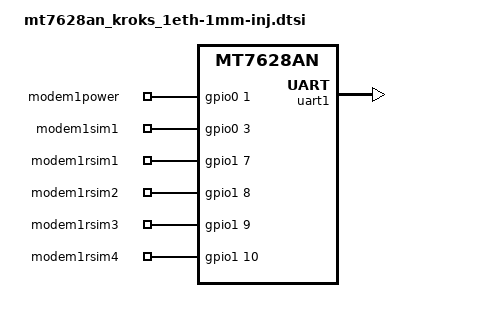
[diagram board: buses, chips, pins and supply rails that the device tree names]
/dts-v1/;

#include "mt7628an_kroks_1eth.dtsi"

/ {
	aliases {
		serial1 = &uart1;
	};

	gpio_export {
		compatible = "gpio-export";
		#size-cells = <0>;

		modem1power {
			gpio-export,name = "modem1power";
			gpio-export,output = <1>;
			gpios = <&gpio0 1 GPIO_ACTIVE_HIGH>;
		};

		modem1sim1 {
			gpio-export,name = "modem1sim1";
			gpio-export,output = <0>;
			gpios = <&gpio0 3 GPIO_ACTIVE_HIGH>;
		};

		modem1rsim1 {
			gpio-export,name = "modem1rsim1";
			gpio-export,output = <1>;
			gpios = <&gpio1 7 GPIO_ACTIVE_HIGH>;
		};

		modem1rsim2 {
			gpio-export,name = "modem1rsim2";
			gpio-export,output = <0>;
			gpios = <&gpio1 8 GPIO_ACTIVE_HIGH>;
		};

		modem1rsim3 {
			gpio-export,name = "modem1rsim3";
			gpio-export,output = <0>;
			gpios = <&gpio1 9 GPIO_ACTIVE_HIGH>;
		};

		modem1rsim4 {
			gpio-export,name = "modem1rsim4";
			gpio-export,output = <0>;
			gpios = <&gpio1 10 GPIO_ACTIVE_HIGH>;
		};
	};
};

&uart1 {
	status = "okay";
};

&state_default {
	gpio {
		ralink,group = "i2s", "wdt", "p4led_an", "p3led_an", "p2led_an", "p1led_an", "wled_an";
		ralink,function = "gpio";
	};
};

&wmac {
	status = "disabled";
};
